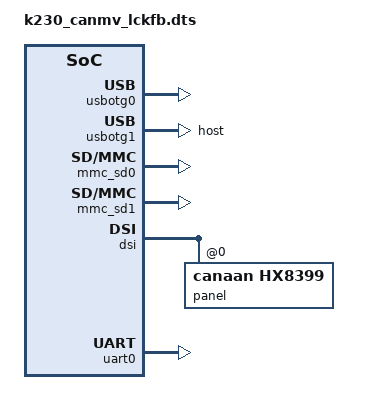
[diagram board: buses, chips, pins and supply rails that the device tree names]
/* Copyright (c) 2023, Canaan Bright Sight Co., Ltd
 *
 * This program is free software; you can redistribute it and/or modify
 * it under the terms of the GNU General Public License version 2 as
 * published by the Free Software Foundation.
*/
#include "k230.dtsi"
#include "clock_provider.dtsi"          /* k230 soc clock tree */
#include "clock_consumer.dtsi"          /* k230 soc clock consumer */
#include "reset_provider.dtsi"          /* k230 soc reset provider */
#include "reset_consumer.dtsi"          /* k230 soc reset consumer */
#include "power_provider.dtsi"          /* k230 soc power provider */
#include "power_consumer.dtsi"          /* k230 soc power consumer */
#include "gpio_provider.dtsi"           /* k230 soc gpio provider */
#include "gpio_consumer.dtsi"           /* k230 soc gpio consumer */


/ {
	aliases {
		serial0 = &uart0;
	};

	chosen {
		bootargs = "";
		linux,initrd-start = <0x0 0xa100000>;
		linux,initrd-end = <0x0 0x0>;
		stdout-path = "serial0:115200";
	};

	sound {
		status                      = "disable";
		compatible                  = "canaan,k230-audio-inno";
		canaan,model                = "CANAAN_K230_I2S_INNO";
		canaan,k230-i2s-controller  = <&i2s>;
		canaan,k230-audio-codec     = <&inno_codec>;
	};
};
&ddr {
	reg = <0x0 0x8200000 0x0 0x7dff000>;  /*linux memory config*/
};

&usbotg0 {
	status = "okay";
};

&usbotg1 {
	dr_mode = "host";
	status = "okay";
};

&mmc_sd0{
    status = "okay";
    rx_delay_line = <0x0d>;
    tx_delay_line = <0xc0>;
};

&mmc_sd1{
    status = "okay";
    no-1-8-v;
    cap-sd-highspeed;
    mshc_ctrl_r = <0x00>;
};

&dsi {
    status = "okay";

    panel@0 {
        compatible = "canaan,hx8399";
        reg = <0>;

        display-timings {
            timing-0 {
                clock-frequency = <74250000>;
                hactive = <1920>;
                vactive = <1080>;
                hfront-porch = <88>;
                hback-porch = <148>;
                hsync-len = <44>;
                vfront-porch = <36>;
                vback-porch = <4>;
                vsync-len = <5>;
            };
        };
    };
};

&uart0 {
	status = "okay";
};
